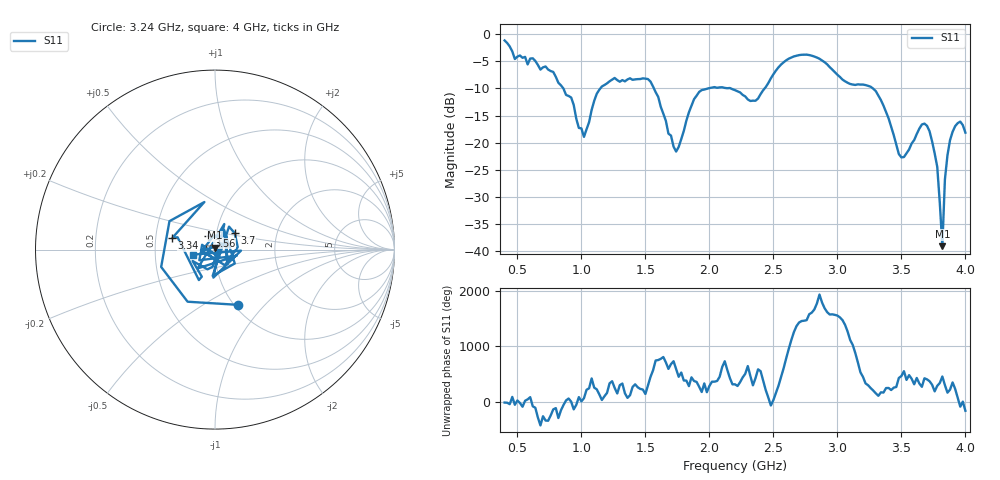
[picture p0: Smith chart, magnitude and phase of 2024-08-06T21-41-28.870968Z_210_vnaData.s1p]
!Created with skrf (http://scikit-rf.org).
# Hz S RI R 50.0
!freq ReS11 ImS11
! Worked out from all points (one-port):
!   181 points, 400 MHz to 4 GHz, reference 50 ohm
!   lowest |S11| = -39.1 dB at 3.82 GHz (marker M1), VSWR 1.02, Z = 50 + j1.11 ohm
!   |S11| at or under -10 dB: 859.4 MHz to 1.147 GHz (288.1 MHz wide, 28.7 % of centre); 1.567 GHz to 1.988 GHz (421.2 MHz wide, 23.7 % of centre); 3.278 GHz to end of sweep (the widest 3 of 4)
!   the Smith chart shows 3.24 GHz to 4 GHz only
!   S11 on the Smith chart (normalised r, x): 3.24 GHz: 1.04, -0.72; 3.34 GHz: 0.61, +0.08; 3.56 GHz: 0.92, +0.15; 3.7 GHz: 1.23, +0.23; 4 GHz: 0.78, -0.04
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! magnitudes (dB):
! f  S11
! 400 MHz  -1.1
! 480 MHz  -4.6
! 620 MHz  -4.4
! 860 MHz  -10.0
! 920 MHz  -11.7
! 1.02 GHz  -18.9
! 1.14 GHz  -10.2
! 1.3 GHz  -8.8
! 1.54 GHz  -8.7
! 1.72 GHz  -20.7
! 1.76 GHz  -20.8
! 1.92 GHz  -10.6
! 2.2 GHz  -10.3
! 2.36 GHz  -12.3
! 2.66 GHz  -4.1
! 2.86 GHz  -4.5
! 3.1 GHz  -9.2
! 3.24 GHz  -9.5
! 3.34 GHz  -12.1
! 3.48 GHz  -22.1
! 3.56 GHz  -21.3
! 3.7 GHz  -16.9
! 3.78 GHz  -24.5
! 3.82 GHz  -39.1
! 3.84 GHz  -26.8
! 3.88 GHz  -19.5
! 3.96 GHz  -16.1
! 4 GHz  -18.2
